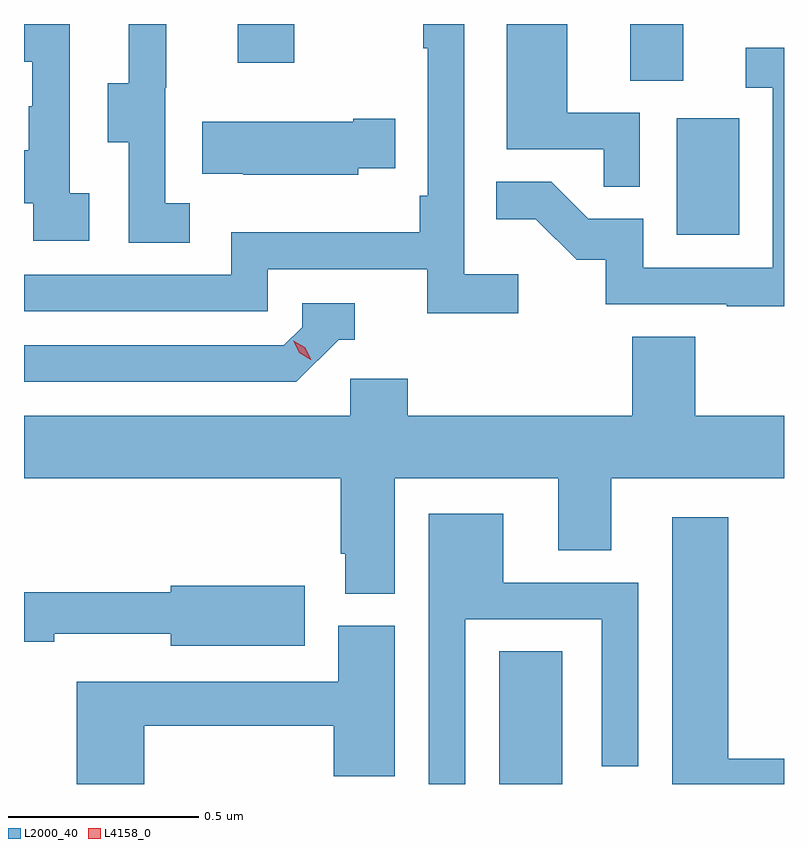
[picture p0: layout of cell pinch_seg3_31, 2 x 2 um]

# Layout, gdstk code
import gdstk
lib = gdstk.Library(unit=1e-6, precision=1e-09)
def R(c, l, rs):  # rectangles x0, y0, x1, y1
    for r in rs: c.add(gdstk.rectangle(r[:2], r[2:], *l))
def P(c, l, *ps):  # polygons
    for p in ps: c.add(gdstk.Polygon(p, *l))
L2000_40 = (2000, 40)
L4158_0 = (4158, 0)

pinch_seg3_31 = lib.new_cell('pinch_seg3_31')
R(pinch_seg3_31, L2000_40, [(1095.296,729.415,1095.463,729.764), (1095.764,730.86,1095.928,731.167), (1095.641,731.266,1095.781,731.415), (1094.609,731.313,1094.757,731.415)])
P(pinch_seg3_31, L2000_40, [(1094.482,730.943),(1094.418,730.943),(1094.418,731.247),(1094.42,731.247),(1094.42,731.415),(1094.321,731.415),(1094.321,731.259),(1094.267,731.259),(1094.267,731.104),(1094.322,731.104),(1094.322,730.84),(1094.482,730.84)],
  [(1095.666,731.181),(1095.475,731.181),(1095.475,731.415),(1095.317,731.415),(1095.317,731.085),(1095.571,731.085),(1095.571,730.987),(1095.666,730.987)],
  [(1094.218,730.97),(1094.166,730.97),(1094.166,731.415),(1094.046,731.415),(1094.046,731.316),(1094.068,731.316),(1094.068,731.198),(1094.058,731.198),(1094.058,731.083),(1094.046,731.083),(1094.046,730.943),(1094.07,730.943),(1094.07,730.845),(1094.218,730.845)],
  [(1095.346,730.756),(1095.204,730.756),(1095.204,731.415),(1095.096,731.415),(1095.096,731.351),(1095.108,731.351),(1095.108,730.963),(1095.088,730.963),(1095.088,730.867),(1094.592,730.867),(1094.592,730.755),(1094.046,730.755),(1094.046,730.659),(1094.688,730.659),(1094.688,730.77),(1095.107,730.77),(1095.107,730.654),(1095.346,730.654)],
  [(1096.046,731.353),(1095.945,731.353),(1095.945,731.247),(1096.017,731.247),(1096.017,730.773),(1095.675,730.773),(1095.675,730.902),(1095.531,730.902),(1095.433,731),(1095.289,731),(1095.289,730.901),(1095.393,730.901),(1095.5,730.794),(1095.577,730.794),(1095.577,730.677),(1095.895,730.677),(1095.895,730.672),(1096.046,730.672)],
  [(1094.925,731.036),(1095.023,731.036),(1095.023,731.166),(1094.912,731.166),(1094.912,731.158),(1094.515,731.158),(1094.515,731.021),(1094.623,731.021),(1094.623,731.018),(1094.925,731.018)],
  [(1094.874,730.584),(1094.917,730.584),(1094.917,730.68),(1094.778,730.68),(1094.778,730.617),(1094.73,730.569),(1094.046,730.569),(1094.046,730.473),(1094.763,730.473)],
  [(1095.022,730.22),(1095.452,730.22),(1095.452,730.03),(1095.592,730.03),(1095.592,730.22),(1096.046,730.22),(1096.046,730.384),(1095.812,730.384),(1095.812,730.592),(1095.647,730.592),(1095.647,730.384),(1095.056,730.384),(1095.056,730.482),(1094.904,730.482),(1094.904,730.384),(1094.046,730.384),(1094.046,730.22),(1094.879,730.22),(1094.879,730.021),(1094.891,730.021),(1094.891,729.916),(1095.022,729.916)],
  [(1095.207,729.849),(1095.567,729.849),(1095.567,729.462),(1095.663,729.462),(1095.663,729.945),(1095.307,729.945),(1095.307,730.126),(1095.111,730.126),(1095.111,729.415),(1095.207,729.415)],
  [(1096.046,729.482),(1095.899,729.482),(1095.899,730.117),(1095.752,730.117),(1095.752,729.415),(1096.046,729.415)],
  [(1094.785,729.937),(1094.432,729.937),(1094.432,729.919),(1094.046,729.919),(1094.046,729.79),(1094.126,729.79),(1094.126,729.81),(1094.432,729.81),(1094.432,729.779),(1094.785,729.779)],
  [(1094.363,729.568),(1094.861,729.568),(1094.861,729.435),(1095.021,729.435),(1095.021,729.547),(1095.022,729.547),(1095.022,729.831),(1094.873,729.831),(1094.873,729.684),(1094.185,729.684),(1094.185,729.415),(1094.363,729.415)])
P(pinch_seg3_31, L4158_0, [(1094.801,730.532),(1094.77,730.55),(1094.754,730.582),(1094.754,730.582),(1094.754,730.582),(1094.785,730.564),(1094.802,730.532),(1094.802,730.532)])

lib.write_gds('pinch_seg3_31.gds')
